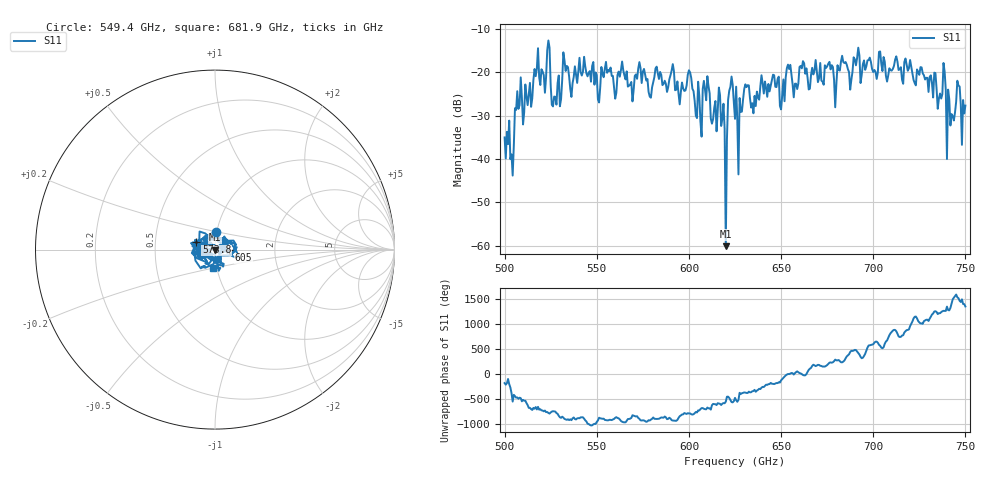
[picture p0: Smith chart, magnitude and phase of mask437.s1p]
!Created with skrf (http://scikit-rf.org).
# GHz S MA R 50.0
!freq magS11 angS11
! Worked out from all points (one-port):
!   401 points, 500 GHz to 750 GHz, reference 50 ohm
!   lowest |S11| = -60.1 dB at 620 GHz (marker M1), VSWR 1.00, Z = 49.9 + j0.0145 ohm
!   |S11| at or under -10 dB: start of sweep to end of sweep
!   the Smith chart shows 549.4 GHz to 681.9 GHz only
!   S11 on the Smith chart (normalised r, x): 549.4 GHz: 0.99, +0.20; 573.8 GHz: 0.81, +0.07; 605 GHz: 1.17, -0.01; 681.9 GHz: 0.96, -0.20
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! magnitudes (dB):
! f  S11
! 500 GHz  -35.0
! 504.4 GHz  -43.8
! 507.5 GHz  -28.5
! 516.9 GHz  -20.9
! 523.8 GHz  -12.7
! 526.9 GHz  -25.6
! 531.2 GHz  -21.8
! 549.4 GHz  -20.1
! 562.5 GHz  -21.1
! 573.8 GHz  -19.1
! 593.8 GHz  -22.2
! 600.6 GHz  -20.1
! 605 GHz  -22.2
! 609.4 GHz  -26.5
! 617.5 GHz  -32.4
! 618.8 GHz  -27.3
! 620 GHz  -60.1
! 622.5 GHz  -23.4
! 625 GHz  -30.8
! 627.5 GHz  -26.0
! 631.2 GHz  -23.5
! 656.2 GHz  -22.8
! 681.9 GHz  -19.7
! 687.5 GHz  -24.0
! 718.8 GHz  -19.7
! 738.1 GHz  -17.9
! 741.2 GHz  -26.2
! 750 GHz  -27.7
